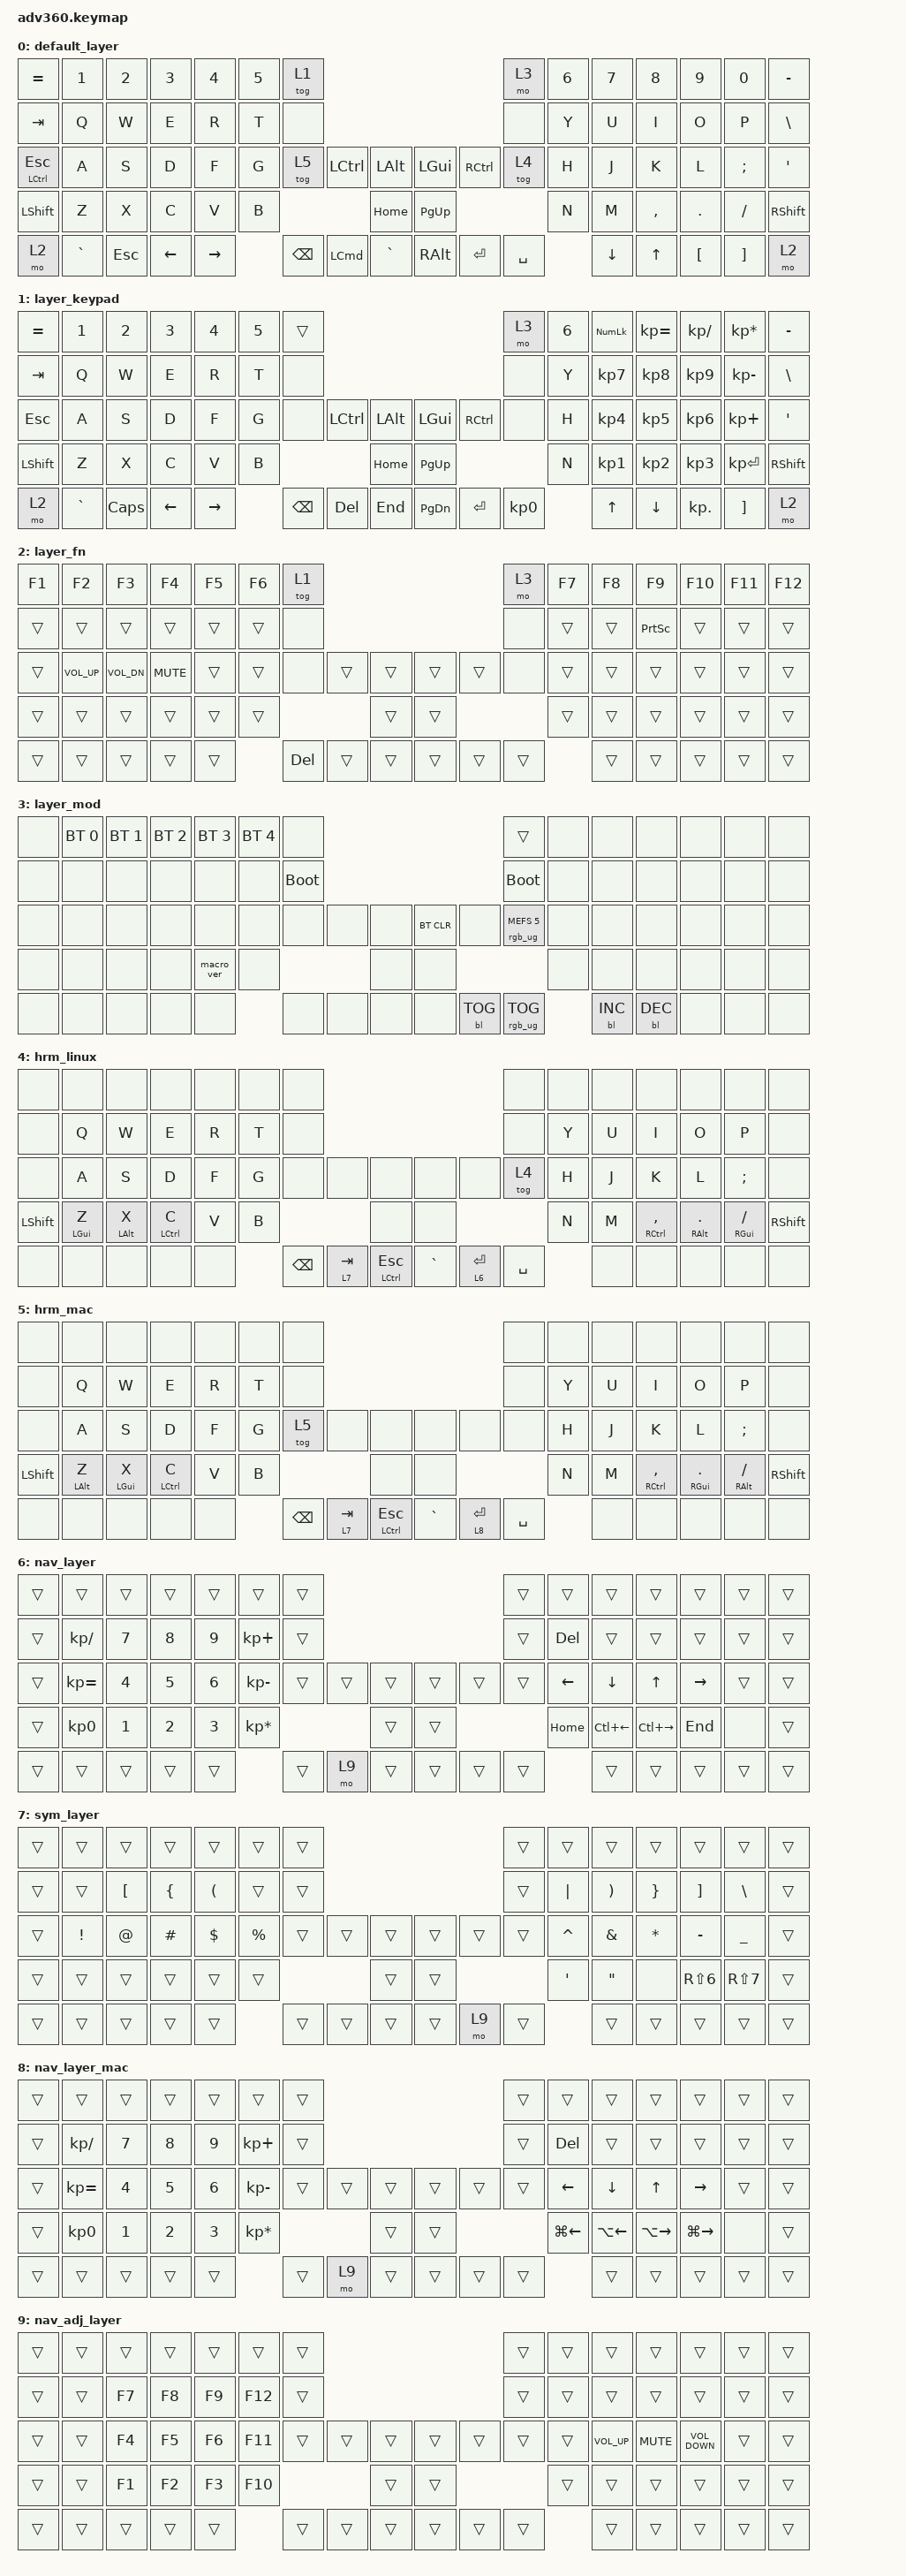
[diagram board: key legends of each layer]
/*
 * Copyright (c) 2020 The ZMK Contributors
 *
 * SPDX-License-Identifier: MIT
 */
/* THIS FILE WAS GENERATED!
 *
 * This file was generated automatically. You may or may not want to
 * edit it directly.
 */

#include <behaviors.dtsi>
#include <dt-bindings/zmk/backlight.h>
#include <dt-bindings/zmk/bt.h>
#include <dt-bindings/zmk/keys.h>
#include <dt-bindings/zmk/rgb.h>

/ {
    behaviors {
        #include "macros.dtsi"
    #include "version.dtsi"

        hm: homerow_mods {
            compatible = "zmk,behavior-hold-tap";
            label = "HOMEROW_MODS";
            #binding-cells = <2>;
            tapping-term-ms = <200>;
            quick_tap_ms = <175>;
            flavor = "balanced";
            bindings = <&kp>, <&kp>;

            require-prior-idle-ms = <175>;
            hold-trigger-on-release;
            quick-tap-ms = <120>;
            hold-trigger-key-positions = <47 48 49 56 57 58>;
        };
    };

    keymap {
        compatible = "zmk,keymap";

        default_layer {
            bindings = <
&kp EQUAL      &kp N1     &kp N2   &kp N3    &kp N4     &kp N5  &tog 1                                                               &mo 3      &kp N6  &kp N7    &kp N8     &kp N9    &kp N0    &kp MINUS
&kp TAB        &kp Q      &kp W    &kp E     &kp R      &kp T   &none                                                                &none      &kp Y   &kp U     &kp I      &kp O     &kp P     &kp BSLH
&mt LCTRL ESC  &kp A      &kp S    &kp D     &kp F      &kp G   &tog 5    &kp LCTRL         &kp LALT       &kp LGUI       &kp RCTRL  &tog 4     &kp H   &kp J     &kp K      &kp L     &kp SEMI  &kp SQT
&kp LSHFT      &kp Z      &kp X    &kp C     &kp V      &kp B                               &kp HOME       &kp PG_UP                            &kp N   &kp M     &kp COMMA  &kp DOT   &kp FSLH  &kp RSHFT
&mo 2          &kp GRAVE  &kp ESC  &kp LEFT  &kp RIGHT          &kp BSPC  &kp LEFT_COMMAND  &kp GRAVE      &kp RIGHT_ALT  &kp ENTER  &kp SPACE          &kp DOWN  &kp UP     &kp LBKT  &kp RBKT  &mo 2
            >;
        };

        layer_keypad {
            bindings = <
&kp EQUAL  &kp N1     &kp N2    &kp N3    &kp N4     &kp N5  &trans                                                   &mo 3      &kp N6  &kp KP_NUM  &kp KP_EQUAL  &kp KP_DIVIDE  &kp KP_MULTIPLY  &kp MINUS
&kp TAB    &kp Q      &kp W     &kp E     &kp R      &kp T   &none                                                    &none      &kp Y   &kp KP_N7   &kp KP_N8     &kp KP_N9      &kp KP_MINUS     &kp BSLH
&kp ESC    &kp A      &kp S     &kp D     &kp F      &kp G   &none     &kp LCTRL  &kp LALT      &kp LGUI   &kp RCTRL  &none      &kp H   &kp KP_N4   &kp KP_N5     &kp KP_N6      &kp KP_PLUS      &kp SQT
&kp LSHFT  &kp Z      &kp X     &kp C     &kp V      &kp B                        &kp HOME      &kp PG_UP                        &kp N   &kp KP_N1   &kp KP_N2     &kp KP_N3      &kp KP_ENTER     &kp RSHFT
&mo 2      &kp GRAVE  &kp CAPS  &kp LEFT  &kp RIGHT          &kp BSPC  &kp DEL    &kp END       &kp PG_DN  &kp ENTER  &kp KP_N0          &kp UP      &kp DOWN      &kp KP_DOT     &kp RBKT         &mo 2
            >;
        };

        layer_fn {
            bindings = <
&kp F1  &kp F2        &kp F3        &kp F4      &kp F5  &kp F6  &tog 1                                          &mo 3   &kp F7  &kp F8  &kp F9           &kp F10  &kp F11  &kp F12
&trans  &trans        &trans        &trans      &trans  &trans  &none                                           &none   &trans  &trans  &kp PRINTSCREEN  &trans   &trans   &trans
&trans  &kp C_VOL_UP  &kp C_VOL_DN  &kp C_MUTE  &trans  &trans  &none       &trans  &trans      &trans  &trans  &none   &trans  &trans  &trans           &trans   &trans   &trans
&trans  &trans        &trans        &trans      &trans  &trans                      &trans      &trans                  &trans  &trans  &trans           &trans   &trans   &trans
&trans  &trans        &trans        &trans      &trans          &kp DELETE  &trans  &trans      &trans  &trans  &trans          &trans  &trans           &trans   &trans   &trans
            >;
        };

        layer_mod {
            bindings = <
&none  &bt BT_SEL 0  &bt BT_SEL 1  &bt BT_SEL 2  &bt BT_SEL 3  &bt BT_SEL 4  &none                                                  &trans                  &none  &none       &none       &none  &none  &none
&none  &none         &none         &none         &none         &none         &bootloader                                            &bootloader             &none  &none       &none       &none  &none  &none
&none  &none         &none         &none         &none         &none         &none        &none  &none      &bt BT_CLR  &none       &rgb_ug RGB_MEFS_CMD 5  &none  &none       &none       &none  &none  &none
&none  &none         &none         &none         &macro_ver    &none                             &none      &none                                           &none  &none       &none       &none  &none  &none
&none  &none         &none         &none         &none                       &none        &none  &none      &none       &bl BL_TOG  &rgb_ug RGB_TOG                &bl BL_INC  &bl BL_DEC  &none  &none  &none
            >;
        };

        hrm_linux {
            bindings = <
&none           &none           &none           &none        &none  &none  &none                                                                &none      &none  &none  &none            &none              &none                &none
&none           &kp Q           &kp W           &kp E        &kp R  &kp T  &none                                                                &none      &kp Y  &kp U  &kp I            &kp O              &kp P                &none
&none           &kp A           &kp S           &kp D        &kp F  &kp G  &none          &none      &none              &none      &none        &tog 4     &kp H  &kp J  &kp K            &kp L              &kp SEMI             &none
&kp LEFT_SHIFT  &hm LEFT_GUI Z  &hm LEFT_ALT X  &hm LCTRL C  &kp V  &kp B                            &none              &none                              &kp N  &kp M  &hm RCTRL COMMA  &hm RIGHT_ALT DOT  &hm RIGHT_GUI SLASH  &kp RIGHT_SHIFT
&none           &none           &none           &none        &none         &kp BACKSPACE  &lt 7 TAB  &mt LCTRL ESC      &kp GRAVE  &lt 6 ENTER  &kp SPACE         &none  &none            &none              &none                &none
            >;
        };

        hrm_mac {
            bindings = <
&none           &none           &none           &none        &none  &none  &none                                                                &none      &none  &none  &none            &none              &none                &none
&none           &kp Q           &kp W           &kp E        &kp R  &kp T  &none                                                                &none      &kp Y  &kp U  &kp I            &kp O              &kp P                &none
&none           &kp A           &kp S           &kp D        &kp F  &kp G  &tog 5         &none      &none              &none      &none        &none      &kp H  &kp J  &kp K            &kp L              &kp SEMI             &none
&kp LEFT_SHIFT  &hm LEFT_ALT Z  &hm LEFT_GUI X  &hm LCTRL C  &kp V  &kp B                            &none              &none                              &kp N  &kp M  &hm RCTRL COMMA  &hm RIGHT_GUI DOT  &hm RIGHT_ALT SLASH  &kp RIGHT_SHIFT
&none           &none           &none           &none        &none         &kp BACKSPACE  &lt 7 TAB  &mt LCTRL ESC      &kp GRAVE  &lt 8 ENTER  &kp SPACE         &none  &none            &none              &none                &none
            >;
        };

        nav_layer {
            bindings = <
&trans  &trans           &trans  &trans  &trans  &trans           &trans                                      &trans  &trans      &trans              &trans               &trans     &trans  &trans
&trans  &kp KP_DIVIDE    &kp N7  &kp N8  &kp N9  &kp KP_PLUS      &trans                                      &trans  &kp DELETE  &trans              &trans               &trans     &trans  &trans
&trans  &kp KP_EQUAL     &kp N4  &kp N5  &kp N6  &kp KP_MINUS     &trans  &trans  &trans      &trans  &trans  &trans  &kp LEFT    &kp DOWN            &kp UP               &kp RIGHT  &trans  &trans
&trans  &kp KP_NUMBER_0  &kp N1  &kp N2  &kp N3  &kp KP_MULTIPLY                  &trans      &trans                  &kp HOME    &kp LC(LEFT_ARROW)  &kp LC(RIGHT_ARROW)  &kp END    &none   &trans
&trans  &trans           &trans  &trans  &trans                   &trans  &mo 9   &trans      &trans  &trans  &trans              &trans              &trans               &trans     &trans  &trans
            >;
        };

        sym_layer {
            bindings = <
&trans  &trans           &trans            &trans          &trans                &trans       &trans                                      &trans  &trans     &trans                 &trans           &trans             &trans          &trans
&trans  &trans           &kp LEFT_BRACKET  &kp LEFT_BRACE  &kp LEFT_PARENTHESIS  &trans       &trans                                      &trans  &kp PIPE   &kp RIGHT_PARENTHESIS  &kp RIGHT_BRACE  &kp RIGHT_BRACKET  &kp BACKSLASH   &trans
&trans  &kp EXCLAMATION  &kp AT            &kp HASH        &kp DOLLAR            &kp PERCENT  &trans  &trans  &trans      &trans  &trans  &trans  &kp CARET  &kp AMPERSAND          &kp ASTERISK     &kp MINUS          &kp UNDERSCORE  &trans
&trans  &trans           &trans            &trans          &trans                &trans                       &trans      &trans                  &kp APOS   &kp DOUBLE_QUOTES      &none            &kp RS(NUMBER_6)   &kp RS(N7)      &trans
&trans  &trans           &trans            &trans          &trans                             &trans  &trans  &trans      &trans  &mo 9   &trans             &trans                 &trans           &trans             &trans          &trans
            >;
        };

        nav_layer_mac {
            bindings = <
&trans  &trans           &trans  &trans  &trans  &trans           &trans                                      &trans  &trans        &trans              &trans               &trans         &trans  &trans
&trans  &kp KP_DIVIDE    &kp N7  &kp N8  &kp N9  &kp KP_PLUS      &trans                                      &trans  &kp DELETE    &trans              &trans               &trans         &trans  &trans
&trans  &kp KP_EQUAL     &kp N4  &kp N5  &kp N6  &kp KP_MINUS     &trans  &trans  &trans      &trans  &trans  &trans  &kp LEFT      &kp DOWN            &kp UP               &kp RIGHT      &trans  &trans
&trans  &kp KP_NUMBER_0  &kp N1  &kp N2  &kp N3  &kp KP_MULTIPLY                  &trans      &trans                  &kp LG(LEFT)  &kp LA(LEFT_ARROW)  &kp LA(RIGHT_ARROW)  &kp LG(RIGHT)  &none   &trans
&trans  &trans           &trans  &trans  &trans                   &trans  &mo 9   &trans      &trans  &trans  &trans                &trans              &trans               &trans         &trans  &trans
            >;
        };

        nav_adj_layer {
            bindings = <
&trans  &trans  &trans  &trans  &trans  &trans   &trans                                      &trans  &trans  &trans           &trans      &trans             &trans  &trans
&trans  &trans  &kp F7  &kp F8  &kp F9  &kp F12  &trans                                      &trans  &trans  &trans           &trans      &trans             &trans  &trans
&trans  &trans  &kp F4  &kp F5  &kp F6  &kp F11  &trans  &trans  &trans      &trans  &trans  &trans  &trans  &kp C_VOLUME_UP  &kp C_MUTE  &kp C_VOLUME_DOWN  &trans  &trans
&trans  &trans  &kp F1  &kp F2  &kp F3  &kp F10                  &trans      &trans                  &trans  &trans           &trans      &trans             &trans  &trans
&trans  &trans  &trans  &trans  &trans           &trans  &trans  &trans      &trans  &trans  &trans          &trans           &trans      &trans             &trans  &trans
            >;
        };
    };
};
